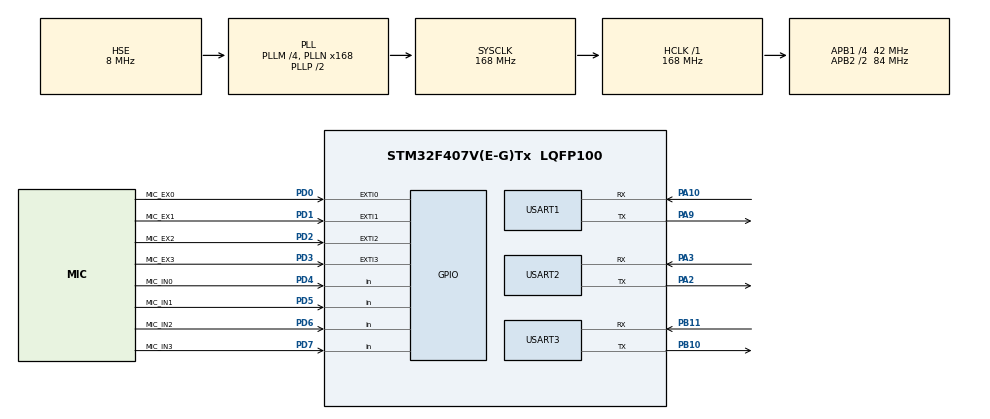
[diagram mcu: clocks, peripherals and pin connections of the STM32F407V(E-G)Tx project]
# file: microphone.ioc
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Dma.Request0=USART3_RX
Dma.Request1=USART2_RX
Dma.Request2=USART1_RX
Dma.USART1_RX.2.Direction=DMA_PERIPH_TO_MEMORY
Dma.USART1_RX.2.FIFOMode=DMA_FIFOMODE_DISABLE
Dma.USART1_RX.2.Instance=DMA2_Stream2
Dma.USART1_RX.2.MemDataAlignment=DMA_MDATAALIGN_BYTE
Dma.USART1_RX.2.MemInc=DMA_MINC_ENABLE
Dma.USART1_RX.2.Mode=DMA_NORMAL
Dma.USART1_RX.2.PeriphDataAlignment=DMA_PDATAALIGN_BYTE
Dma.USART1_RX.2.PeriphInc=DMA_PINC_DISABLE
Dma.USART1_RX.2.Priority=DMA_PRIORITY_LOW
Dma.USART2_RX.1.Direction=DMA_PERIPH_TO_MEMORY
Dma.USART2_RX.1.FIFOMode=DMA_FIFOMODE_DISABLE
Dma.USART2_RX.1.Instance=DMA1_Stream5
Dma.USART2_RX.1.MemDataAlignment=DMA_MDATAALIGN_BYTE
Dma.USART2_RX.1.MemInc=DMA_MINC_ENABLE
Dma.USART2_RX.1.Mode=DMA_NORMAL
Dma.USART2_RX.1.PeriphDataAlignment=DMA_PDATAALIGN_BYTE
Dma.USART2_RX.1.PeriphInc=DMA_PINC_DISABLE
Dma.USART2_RX.1.Priority=DMA_PRIORITY_LOW
Dma.USART3_RX.0.Direction=DMA_PERIPH_TO_MEMORY
Dma.USART3_RX.0.FIFOMode=DMA_FIFOMODE_DISABLE
Dma.USART3_RX.0.Instance=DMA1_Stream1
Dma.USART3_RX.0.MemDataAlignment=DMA_MDATAALIGN_BYTE
Dma.USART3_RX.0.MemInc=DMA_MINC_ENABLE
Dma.USART3_RX.0.Mode=DMA_NORMAL
Dma.USART3_RX.0.PeriphDataAlignment=DMA_PDATAALIGN_BYTE
Dma.USART3_RX.0.PeriphInc=DMA_PINC_DISABLE
Dma.USART3_RX.0.Priority=DMA_PRIORITY_LOW
Mcu.Family=STM32F4
Mcu.Name=STM32F407V(E-G)Tx
Mcu.Package=LQFP100
NVIC.DMA1_Stream1_IRQn=true\:1\:0\:true\:false\:true\:false\:true
NVIC.DMA1_Stream5_IRQn=true\:1\:0\:true\:false\:true\:false\:true
NVIC.DMA2_Stream2_IRQn=true\:1\:0\:true\:false\:true\:false\:true
NVIC.EXTI0_IRQn=true\:0\:0\:false\:false\:true\:true\:true
NVIC.EXTI1_IRQn=true\:0\:0\:false\:false\:true\:true\:true
NVIC.EXTI2_IRQn=true\:0\:0\:false\:false\:true\:true\:true
NVIC.EXTI3_IRQn=true\:0\:0\:false\:false\:true\:true\:true
NVIC.PriorityGroup=NVIC_PRIORITYGROUP_4
NVIC.TIM1_UP_TIM10_IRQn=true\:0\:0\:true\:false\:true\:true\:true
NVIC.USART1_IRQn=true\:2\:0\:true\:false\:true\:true\:true
NVIC.USART2_IRQn=true\:2\:0\:true\:false\:true\:true\:true
NVIC.USART3_IRQn=true\:2\:0\:true\:false\:true\:true\:true
PA10.Mode=Asynchronous
PA10.Signal=USART1_RX
PA13.Mode=Serial_Wire
PA13.Signal=SYS_JTMS-SWDIO
PA14.Mode=Serial_Wire
PA14.Signal=SYS_JTCK-SWCLK
PA2.Mode=Asynchronous
PA2.Signal=USART2_TX
PA3.Mode=Asynchronous
PA3.Signal=USART2_RX
PA9.Mode=Asynchronous
PA9.Signal=USART1_TX
PB10.Mode=Asynchronous
PB10.Signal=USART3_TX
PB11.Mode=Asynchronous
PB11.Signal=USART3_RX
PC14-OSC32_IN.Mode=LSE-External-Oscillator
PC14-OSC32_IN.Signal=RCC_OSC32_IN
PC15-OSC32_OUT.Mode=LSE-External-Oscillator
PC15-OSC32_OUT.Signal=RCC_OSC32_OUT
PD0.GPIO_Label=MIC_EX0
PD0.Signal=GPXTI0
PD1.GPIO_Label=MIC_EX1
PD1.Signal=GPXTI1
PD2.GPIO_Label=MIC_EX2
PD2.Signal=GPXTI2
PD3.GPIO_Label=MIC_EX3
PD3.Signal=GPXTI3
PD4.GPIO_Label=MIC_IN0
PD4.Signal=GPIO_Input
PD5.GPIO_Label=MIC_IN1
PD5.Signal=GPIO_Input
PD6.GPIO_Label=MIC_IN2
PD6.Signal=GPIO_Input
PD7.GPIO_Label=MIC_IN3
PD7.Signal=GPIO_Input
PH0-OSC_IN.Mode=HSE-External-Oscillator
PH0-OSC_IN.Signal=RCC_OSC_IN
PH1-OSC_OUT.Mode=HSE-External-Oscillator
PH1-OSC_OUT.Signal=RCC_OSC_OUT
ProjectManager.HeapSize=0x200
ProjectManager.StackSize=0x400
ProjectManager.TargetToolchain=Makefile
RCC.48MHZClocksFreq_Value=84000000
RCC.AHBFreq_Value=168000000
RCC.APB1CLKDivider=RCC_HCLK_DIV4
RCC.APB1Freq_Value=42000000
RCC.APB1TimFreq_Value=84000000
RCC.APB2CLKDivider=RCC_HCLK_DIV2
RCC.APB2Freq_Value=84000000
RCC.APB2TimFreq_Value=168000000
RCC.CortexFreq_Value=168000000
RCC.HCLKFreq_Value=168000000
RCC.HSE_VALUE=8000000
RCC.HSI_VALUE=16000000
RCC.PLLM=4
RCC.PLLN=168
RCC.PLLSourceVirtual=RCC_PLLSOURCE_HSE
RCC.SYSCLKFreq_VALUE=168000000
RCC.SYSCLKSource=RCC_SYSCLKSOURCE_PLLCLK
RCC.VCOOutputFreq_Value=336000000
TIM1.AutoReloadPreload=TIM_AUTORELOAD_PRELOAD_DISABLE
TIM1.Period=1000
TIM1.Prescaler=42-1
TIM10.AutoReloadPreload=TIM_AUTORELOAD_PRELOAD_ENABLE
TIM10.Prescaler=84-1
TIM2.AutoReloadPreload=TIM_AUTORELOAD_PRELOAD_ENABLE
TIM2.Period=4294967295/2
TIM2.Prescaler=42-1
USART1.VirtualMode=VM_ASYNC
USART2.VirtualMode=VM_ASYNC
USART3.VirtualMode=VM_ASYNC
VP_TIM10_VS_ClockSourceINT.Mode=Enable_Timer
VP_TIM1_VS_ClockSourceINT.Mode=Internal
VP_TIM2_VS_ClockSourceINT.Mode=Internal
board=custom

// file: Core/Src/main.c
/* USER CODE BEGIN Header */
/**
 ******************************************************************************
 * @file           : main.c
 * @brief          : Main program body
 ******************************************************************************
 * @attention
 *
 * <h2><center>&copy; Copyright (c) 2022 STMicroelectronics.
 * All rights sound_source_poserved.</center></h2>
 *
 * This software component is licensed by ST under BSD 3-Clause license,
 * the "License"; You may not use this file except in compliance with the
 * License. You may obtain a copy of the License at:
 *                        opensource.org/licenses/BSD-3-Clause
 *
 ******************************************************************************
 */
/* USER CODE END Header */
#include "main.h"
#include "dma.h"
#include "tim.h"
#include "usart.h"
#include "gpio.h"

/* USER CODE BEGIN Includes */
#include "math.h"
#include "dtoa.h"
/* USER CODE END Includes */

void SystemClock_Config(void);

/* USER CODE BEGIN 0 */

//#define DISTANCE_LOG
#define SS_POS_LOG
#define TIMESTAMP_LOG
#define ANGLE_LOG

float SOUND_SPEED = 346.0f;
float TIME_TICK_RATE = 0.5E-3f;

int mp_timestamp[4] = {0};
int mp_ts_cpy[4] = {0};
float delta_distance[3][2] = {0};
float chans_distance[3][2] = {0};
float x_bound[2];
float y_bound[2];
int mc_fix_bias[4] = {0};
vector2 mp_pos[4];
vector2 sound_source_pos;
float angle_bound = 500;
uint8_t sample_flag = 0;
extern uint8_t mic_bit[4];
uint8_t mic_order_cpy[4];
uint8_t area_bound[6][2];
float angle = 90;
float value1 = 90, value2 = 90;
void push(Queue *q, uint8_t x)
{
    q->data[q->front++] = x;
    q->front %= QUEUE_SIZE;
}

uint8_t pop(Queue *q)
{
    if (q->back == q->front)
        return -1;
    uint8_t ret = q->data[q->back++];
    q->back %= QUEUE_SIZE;
    return ret;
}

uint8_t size(Queue *q)
{
    return (q->front - q->back + QUEUE_SIZE) % QUEUE_SIZE;
}
/* USER CODE END 0 */

int main(void)
{

    /* MCU Configuration--------------------------------------------------------*/

    /* sound_source_poset of all peripherals, Initializes the Flash interface and the Systick. */
    HAL_Init();

    /* Configure the system clock */
    SystemClock_Config();

    /* Initialize all configured peripherals */
    MX_GPIO_Init();
    MX_DMA_Init();
    MX_USART1_UART_Init();
    MX_USART2_UART_Init();
    MX_USART3_UART_Init();
    MX_TIM1_Init();
    MX_TIM2_Init();
    MX_TIM10_Init();
    /* USER CODE BEGIN 2 */
    time_init();
    microphone_init();
    printf("Init\n");

    vector2 sound_source;
    /* USER CODE END 2 */

    /* Infinite loop */
    /* USER CODE BEGIN WHILE */
    while (1)
    {
#ifdef WANGCHAORUI
        if ((!mic_bit[0] && !mic_bit[1] && !mic_bit[2] && !mic_bit[3]))
        {
            if (sample_flag)
            {
                uint8_t data_is_value = 1;
                for (int i = 0; i < 4; i++)
                {
                    mp_timestamp[i] += mc_fix_bias[i];
                    if (mp_ts_cpy == mp_timestamp)
                        data_is_value = 0;
                    mp_ts_cpy[i] = mp_timestamp[i];
                }
                calculate_order();
                if (mic_order_cpy[0] == 0 || mic_order_cpy[0] == 2)
                    data_is_value = 0;
                if (data_is_value)
                {
#ifdef TIMESTAMP_LOG
                    print_tick();
                    printf("begin calculate\n");
#endif
                    calculate_angle();
                    calculate_chans_distance();
                    sound_source = calculate_sound_source();
                    print_to_stm32();
                    sample_flag = 0;
                }
            }
        }
#endif
        /* USER CODE END WHILE */

    }
}

void SystemClock_Config(void)
{
    RCC_OscInitTypeDef RCC_OscInitStruct = {0};
    RCC_ClkInitTypeDef RCC_ClkInitStruct = {0};

    /** Configure the main internal regulator output voltage
     */
    __HAL_RCC_PWR_CLK_ENABLE();
    __HAL_PWR_VOLTAGESCALING_CONFIG(PWR_REGULATOR_VOLTAGE_SCALE1);
    /** Initializes the RCC Oscillators according to the specified parameters
     * in the RCC_OscInitTypeDef structure.
     */
    RCC_OscInitStruct.OscillatorType = RCC_OSCILLATORTYPE_HSE;
    RCC_OscInitStruct.HSEState = RCC_HSE_ON;
    RCC_OscInitStruct.PLL.PLLState = RCC_PLL_ON;
    RCC_OscInitStruct.PLL.PLLSource = RCC_PLLSOURCE_HSE;
    RCC_OscInitStruct.PLL.PLLM = 4;
    RCC_OscInitStruct.PLL.PLLN = 168;
    RCC_OscInitStruct.PLL.PLLP = RCC_PLLP_DIV2;
    RCC_OscInitStruct.PLL.PLLQ = 4;
    if (HAL_RCC_OscConfig(&RCC_OscInitStruct) != HAL_OK)
    {
        Error_Handler();
    }
    /** Initializes the CPU, AHB and APB buses clocks
     */
    RCC_ClkInitStruct.ClockType = RCC_CLOCKTYPE_HCLK | RCC_CLOCKTYPE_SYSCLK | RCC_CLOCKTYPE_PCLK1 | RCC_CLOCKTYPE_PCLK2;
    RCC_ClkInitStruct.SYSCLKSource = RCC_SYSCLKSOURCE_PLLCLK;
    RCC_ClkInitStruct.AHBCLKDivider = RCC_SYSCLK_DIV1;
    RCC_ClkInitStruct.APB1CLKDivider = RCC_HCLK_DIV4;
    RCC_ClkInitStruct.APB2CLKDivider = RCC_HCLK_DIV2;

    if (HAL_RCC_ClockConfig(&RCC_ClkInitStruct, FLASH_LATENCY_5) != HAL_OK)
    {
        Error_Handler();
    }
}

/* USER CODE BEGIN 4 */

inline void time_init()
{
    HAL_TIM_Base_Start_IT(&htim1);
    HAL_TIM_Base_Start(&htim10);
    HAL_TIM_Base_Start(&htim2);
    __HAL_TIM_SetCounter(&htim2, 0);
    HAL_NVIC_EnableIRQ(EXTI0_IRQn);
    HAL_NVIC_EnableIRQ(EXTI1_IRQn);
    HAL_NVIC_EnableIRQ(EXTI2_IRQn);
    HAL_NVIC_EnableIRQ(EXTI3_IRQn);
}
inline void microphone_init()
{
    mp_pos[1].x = -250;
    mp_pos[1].y = 0;
    mp_pos[3].x = 250;
    mp_pos[3].y = 0;
    mp_pos[0].x = -250;
    mp_pos[0].y = -500;
    mp_pos[2].x = 250;
    mp_pos[2].y = -500;

    x_bound[0] = -1500;
    x_bound[1] = 1500;
    y_bound[0] = -5000;
    y_bound[1] = 5000;

    mc_fix_bias[3] = 2000;
    mc_fix_bias[2] = 500;
}
inline void calculate_order()
{
    int tem[4];
    for (int i = 0; i < 4; i++)
    {
        tem[i] = 0;
        int value = mp_ts_cpy[i];
        for (int j = 0; j < 4; j++)
        {
            if (value > mp_ts_cpy[j])
                tem[i]++;
        }
    }
    for (int i = 0; i < 4; i++)
    {
        mic_order_cpy[tem[i]] = i;
    }
}
void print_tick()
{
    // log
    printf("mp_order:");
    for (int i = 0; i < 4; i++)
        printf("%d", mic_order_cpy[i]);
    printf("\n");
    for (int i = 0; i < 4; i++)
        printf("mp_timestamp[%d] = %d\n", i, mp_ts_cpy[i]);
    printf("\n");
}
void print_to_stm32()
{
    printf_huart = &huart2;
    char temp[128];
    sprintf(temp, "angle %.5f posx %.5f posy %.5f", angle, sound_source_pos.x, sound_source_pos.y);
    printf("%s", temp);
    printf_huart = &huart3;
}
inline float get_det_d(int ts1, int ts2)
{
    return ((int)(ts1 - ts2) * TIME_TICK_RATE * SOUND_SPEED);
}
inline float get_det_t(int ts1, int ts2)
{
    return ((int)(ts1 - ts2) * TIME_TICK_RATE);
}
void calculate_delta_distance()
{
    delta_distance[0][0] = get_det_d(mp_timestamp[0], mp_timestamp[1]);
    delta_distance[0][1] = get_det_d(mp_timestamp[2], mp_timestamp[3]);

    delta_distance[1][0] = get_det_d(mp_timestamp[0], mp_timestamp[2]);
    delta_distance[1][1] = get_det_d(mp_timestamp[1], mp_timestamp[3]);

    delta_distance[2][0] = get_det_d(mp_timestamp[0], mp_timestamp[3]);
    delta_distance[2][1] = get_det_d(mp_timestamp[1], mp_timestamp[2]);
}
void calculate_angle()
{
    float dt1 = (get_det_d(mp_ts_cpy[2], mp_ts_cpy[0]));
    float dt2 = (get_det_d(mp_ts_cpy[3], mp_ts_cpy[1]));
    if (abs(dt1) < angle_bound)
    {
        float temp = (180.f / 3.141592f) * acosf(dt1 / angle_bound);
        if (temp > 50 && temp < 140)
            value1 = temp;
    }
    if (abs(dt2) < angle_bound)
    {
        float temp = (180.f / 3.141592f) * acosf(dt2 / angle_bound);
        if (temp > 50 && temp < 140)
            value2 = temp;
    }
    angle = (value1 + value2) / 2;
#ifdef ANGLE_LOG
    printf("dt %f %f\n value %f %f\n, angle :%f\n", dt1, dt2, value1, value2, angle);
#endif
}
void calculate_chans_distance()
{

    chans_distance[0][0] = get_det_d(mp_ts_cpy[mic_order_cpy[0]], mp_ts_cpy[mic_order_cpy[1]]);
    chans_distance[0][1] = get_det_d(mp_ts_cpy[mic_order_cpy[0]], mp_ts_cpy[mic_order_cpy[2]]);

    chans_distance[1][0] = get_det_d(mp_ts_cpy[mic_order_cpy[0]], mp_ts_cpy[mic_order_cpy[1]]);
    chans_distance[1][1] = get_det_d(mp_ts_cpy[mic_order_cpy[0]], mp_ts_cpy[mic_order_cpy[3]]);

    chans_distance[2][0] = get_det_d(mp_ts_cpy[mic_order_cpy[0]], mp_ts_cpy[mic_order_cpy[2]]);
    chans_distance[2][1] = get_det_d(mp_ts_cpy[mic_order_cpy[0]], mp_ts_cpy[mic_order_cpy[3]]);
#ifdef DISTANCE_LOG
    for (int i = 0; i < 3; i++)
    {
        printf("cd%d:%f %f\n", i, chans_distance[i][0], chans_distance[i][1]);
    }
    printf("\n");
#endif
}

inline uint8_t is_within_bound(vector2 v)
{
    if (v.x < x_bound[1] && v.x > x_bound[0] && v.y < y_bound[1] && v.y > y_bound[0])
        return 1;

    return 0;
}

#define CHANS_METHOD
vector2 calculate_sound_source()
{
#ifdef CHANS_METHOD
    vector2 sp[3];
    sp[0] = chans_meth(mp_pos[mic_order_cpy[0]], mp_pos[mic_order_cpy[1]], mp_pos[mic_order_cpy[2]], chans_distance[0][0], chans_distance[0][1]);
    sp[1] = chans_meth(mp_pos[mic_order_cpy[0]], mp_pos[mic_order_cpy[1]], mp_pos[mic_order_cpy[3]], chans_distance[1][0], chans_distance[1][1]);
    sp[2] = chans_meth(mp_pos[mic_order_cpy[0]], mp_pos[mic_order_cpy[2]], mp_pos[mic_order_cpy[3]], chans_distance[2][0], chans_distance[2][1]);

    int aa = 0;
    vector2 sum = {0};
    for (int i = 0; i < 3; i++)
    {
        if (is_within_bound(sp[i]))
        {
            aa++;
            sum = vector2_add_vector2(sum, sp[i]);
        }
    }
    if (aa)
        sound_source_pos = vector2_plus(sum, (1.0f / aa));
#ifdef SS_POS_LOG
    printf("ss pos:");
    print_vector(sound_source_pos);
#endif

#endif

    return sound_source_pos;
}
int is_str_equal(char *str_p1, uint8_t size1, char *str_p2)
{
    if (size1 == 0)
        return 0;
    for (int i = 0; i < size1; i++)
    {
        if (str_p1[i] != str_p2[i])
            return 0;
    }
    return 1;
}

void arg_prase(int argc, char **argv)
{
    for (int i = 0; i < argc; i++)
    {
        if (is_str_equal("tickrate", 8, argv[i]))
        {
            TIME_TICK_RATE = atof(argv[++i]);
            printf("set TIME_TICK_RATE :%.9f", TIME_TICK_RATE);
        }
        else if (is_str_equal("soundspeed", 10, argv[i]))
        {
            SOUND_SPEED = atof(argv[++i]);
            printf("set SOUND_SPEED :%5f", SOUND_SPEED);
        }
        else if (is_str_equal("add0bias", 8, argv[i]))
        {
            mc_fix_bias[0] = atoi(argv[++i]);
            printf("set 0bias:%d\n", mc_fix_bias[0]);
        }
        else if (is_str_equal("add1bias", 8, argv[i]))
        {
            mc_fix_bias[1] = atoi(argv[++i]);
            printf("set 0bias:%d\n", mc_fix_bias[1]);
        }
        else if (is_str_equal("add2bias", 8, argv[i]))
        {
            mc_fix_bias[2] = atoi(argv[++i]);
            printf("set 0bias:%d\n", mc_fix_bias[2]);
        }
        else if (is_str_equal("add3bias", 8, argv[i]))
        {
            mc_fix_bias[3] = atoi(argv[++i]);
            printf("set 0bias:%d\n", mc_fix_bias[3]);
        }
        else if (is_str_equal("angleb", 6, argv[i]))
        {
            angle_bound = atof(argv[++i]);
            printf("Set angle bound:%f\n", angle_bound);
        }
    }
}
/* USER CODE END 4 */

void Error_Handler(void)
{
    __disable_irq();
    while (1)
    {
    }
}

/************************ (C) COPYRIGHT STMicroelectronics *****END OF FILE****/
